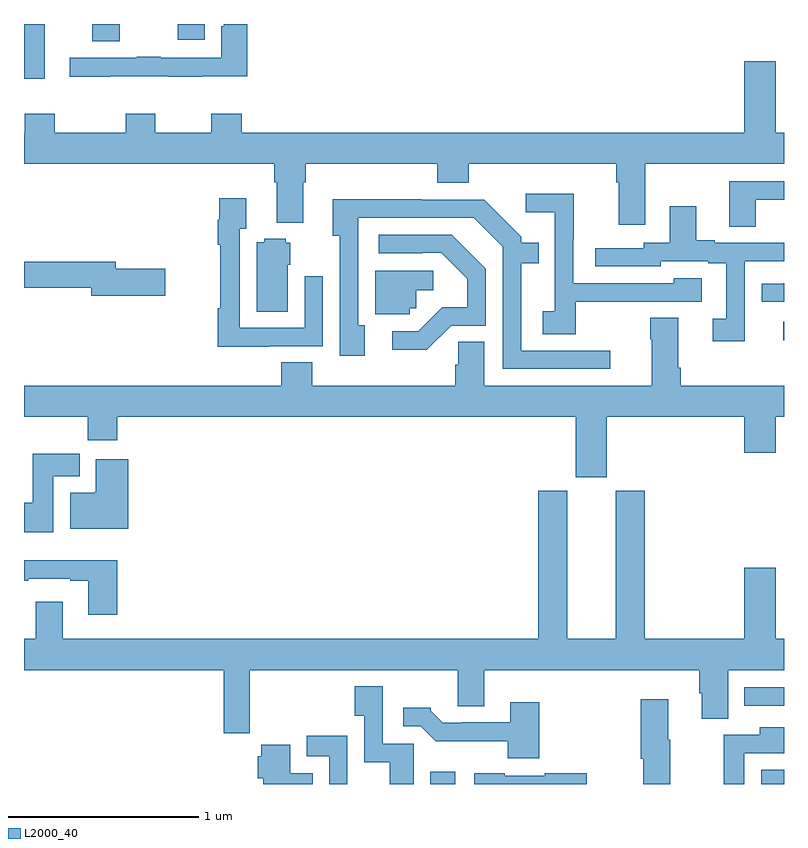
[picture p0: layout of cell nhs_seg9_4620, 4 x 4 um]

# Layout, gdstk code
import gdstk
lib = gdstk.Library(unit=1e-6, precision=1e-09)
def R(c, l, rs):  # rectangles x0, y0, x1, y1
    for r in rs: c.add(gdstk.rectangle(r[:2], r[2:], *l))
def P(c, l, *ps):  # polygons
    for p in ps: c.add(gdstk.Polygon(p, *l))
L2000_40 = (2000, 40)

nhs_seg9_4620 = lib.new_cell('nhs_seg9_4620')
R(nhs_seg9_4620, L2000_40, [(379.139,1182.5,379.27,1182.565), (380.879,1182.5,381,1182.574), (380.792,1182.912,381,1183.008), (380.997,1184.836,381,1184.934), (377,1186.211,377.11,1186.5), (377.36,1186.408,377.505,1186.5), (377.809,1186.416,377.95,1186.5)])
P(nhs_seg9_4620, L2000_40, [(377.453,1186.226),(377.759,1186.226),(377.759,1186.222),(377.942,1186.222),(377.942,1186.226),(378.176,1186.226),(378.176,1186.5),(378.05,1186.5),(378.05,1186.488),(378.038,1186.488),(378.038,1186.323),(377.72,1186.323),(377.72,1186.328),(377.593,1186.328),(377.593,1186.323),(377.241,1186.323),(377.241,1186.222),(377.453,1186.222)],
  [(378.317,1185.668),(378.329,1185.668),(378.329,1185.455),(378.469,1185.455),(378.469,1185.668),(378.482,1185.668),(378.482,1185.764),(379.175,1185.764),(379.175,1185.665),(379.34,1185.665),(379.34,1185.764),(380.117,1185.764),(380.117,1185.668),(380.129,1185.668),(380.129,1185.444),(380.269,1185.444),(380.269,1185.764),(381,1185.764),(381,1185.928),(380.956,1185.928),(380.956,1186.303),(380.792,1186.303),(380.792,1185.928),(378.146,1185.928),(378.146,1186.027),(377.986,1186.027),(377.986,1185.928),(377.691,1185.928),(377.691,1186.027),(377.536,1186.027),(377.536,1185.928),(377.163,1185.928),(377.163,1186.027),(377.003,1186.027),(377.003,1185.928),(377,1185.928),(377,1185.764),(378.317,1185.764)],
  [(380.851,1185.576),(381,1185.576),(381,1185.672),(380.711,1185.672),(380.711,1185.433),(380.851,1185.433)],
  [(379.903,1185.037),(380.207,1185.037),(380.207,1185.039),(380.566,1185.039),(380.566,1185.163),(380.421,1185.163),(380.421,1185.135),(379.89,1185.135),(379.89,1185.368),(379.893,1185.368),(379.893,1185.607),(379.641,1185.607),(379.641,1185.509),(379.794,1185.509),(379.794,1184.988),(379.731,1184.988),(379.731,1184.866),(379.903,1184.866)],
  [(378.289,1184.805),(378.573,1184.805),(378.573,1185.172),(378.477,1185.172),(378.477,1184.901),(378.135,1184.901),(378.135,1185.422),(378.169,1185.422),(378.169,1185.583),(378.027,1185.583),(378.027,1185.47),(378.019,1185.47),(378.019,1185.338),(378.034,1185.338),(378.034,1185.005),(378.019,1185.005),(378.019,1184.801),(378.289,1184.801)],
  [(380.086,1184.781),(379.618,1184.781),(379.618,1185.24),(379.709,1185.24),(379.709,1185.349),(379.617,1185.349),(379.617,1185.381),(379.422,1185.576),(379.091,1185.576),(379.091,1185.578),(378.626,1185.578),(378.626,1185.386),(378.663,1185.386),(378.663,1184.754),(378.793,1184.754),(378.793,1184.914),(378.759,1184.914),(378.759,1185.48),(379.368,1185.48),(379.521,1185.327),(379.521,1184.685),(380.086,1184.685)],
  [(380.793,1185.252),(381,1185.252),(381,1185.348),(380.635,1185.348),(380.635,1185.361),(380.539,1185.361),(380.539,1185.541),(380.399,1185.541),(380.399,1185.348),(380.262,1185.348),(380.262,1185.321),(380.007,1185.321),(380.007,1185.225),(380.352,1185.225),(380.352,1185.252),(380.6,1185.252),(380.6,1185.24),(380.696,1185.24),(380.696,1184.949),(380.625,1184.949),(380.625,1184.829),(380.793,1184.829)],
  [(379.248,1184.913),(379.431,1184.913),(379.431,1185.211),(379.252,1185.39),(378.867,1185.39),(378.867,1185.294),(379.097,1185.294),(379.097,1185.297),(379.197,1185.297),(379.334,1185.16),(379.334,1185.01),(379.201,1185.01),(379.074,1184.883),(378.939,1184.883),(378.939,1184.786),(379.12,1184.786)],
  [(378.388,1185.234),(378.4,1185.234),(378.4,1185.348),(378.378,1185.348),(378.378,1185.37),(378.264,1185.37),(378.264,1185.352),(378.224,1185.352),(378.224,1184.986),(378.388,1184.986)],
  [(377.743,1185.212),(377.482,1185.212),(377.482,1185.248),(377,1185.248),(377,1185.112),(377.354,1185.112),(377.354,1185.07),(377.743,1185.07)],
  [(379.029,1185.003),(379.065,1185.003),(379.065,1185.098),(379.153,1185.098),(379.153,1185.201),(378.848,1185.201),(378.848,1184.973),(379.029,1184.973)],
  [(381,1185.135),(380.995,1185.135),(380.995,1185.134),(380.883,1185.134),(380.883,1185.039),(381,1185.039)],
  [(380.068,1184.432),(380.792,1184.432),(380.792,1184.244),(380.956,1184.244),(380.956,1184.432),(381,1184.432),(381,1184.596),(380.456,1184.596),(380.456,1184.692),(380.443,1184.692),(380.443,1184.953),(380.296,1184.953),(380.296,1184.84),(380.303,1184.84),(380.303,1184.596),(379.423,1184.596),(379.423,1184.828),(379.285,1184.828),(379.285,1184.706),(379.271,1184.706),(379.271,1184.596),(378.518,1184.596),(378.518,1184.72),(378.353,1184.72),(378.353,1184.596),(377,1184.596),(377,1184.432),(377.335,1184.432),(377.335,1184.308),(377.492,1184.308),(377.492,1184.432),(379.904,1184.432),(379.904,1184.115),(380.068,1184.115)],
  [(377.155,1184.12),(377.293,1184.12),(377.293,1184.238),(377.045,1184.238),(377.045,1183.98),(377,1183.98),(377,1183.824),(377.155,1183.824)],
  [(377.549,1184.209),(377.378,1184.209),(377.378,1184.038),(377.372,1184.038),(377.372,1184.032),(377.243,1184.032),(377.243,1183.844),(377.549,1183.844)],
  [(378.188,1183.1),(379.283,1183.1),(379.283,1182.91),(379.423,1182.91),(379.423,1183.1),(380.555,1183.1),(380.555,1182.978),(380.567,1182.978),(380.567,1182.844),(380.707,1182.844),(380.707,1183.1),(381,1183.1),(381,1183.264),(380.956,1183.264),(380.956,1183.639),(380.792,1183.639),(380.792,1183.264),(380.267,1183.264),(380.267,1184.043),(380.114,1184.043),(380.114,1183.264),(379.858,1183.264),(379.858,1184.043),(379.706,1184.043),(379.706,1183.264),(377.203,1183.264),(377.203,1183.459),(377.063,1183.459),(377.063,1183.264),(377,1183.264),(377,1183.1),(378.052,1183.1),(378.052,1182.768),(378.188,1182.768)],
  [(377.492,1183.678),(377,1183.678),(377,1183.569),(377.023,1183.569),(377.023,1183.581),(377.243,1183.581),(377.243,1183.569),(377.339,1183.569),(377.339,1183.392),(377.492,1183.392)],
  [(379.051,1182.711),(378.888,1182.711),(378.888,1183.015),(378.74,1183.015),(378.74,1182.859),(378.792,1182.859),(378.792,1182.614),(378.926,1182.614),(378.926,1182.5),(379.051,1182.5)],
  [(380.4,1182.733),(380.392,1182.733),(380.392,1182.946),(380.246,1182.946),(380.246,1182.633),(380.258,1182.633),(380.258,1182.5),(380.4,1182.5)],
  [(379.712,1182.931),(379.559,1182.931),(379.559,1182.825),(379.303,1182.825),(379.303,1182.822),(379.204,1182.822),(379.14,1182.886),(379.14,1182.901),(378.996,1182.901),(378.996,1182.804),(379.089,1182.804),(379.168,1182.726),(379.547,1182.726),(379.547,1182.636),(379.712,1182.636)],
  [(380.79,1182.663),(381,1182.663),(381,1182.799),(380.872,1182.799),(380.872,1182.759),(380.682,1182.759),(380.682,1182.5),(380.79,1182.5)],
  [(378.702,1182.754),(378.489,1182.754),(378.489,1182.645),(378.606,1182.645),(378.606,1182.5),(378.702,1182.5)],
  [(378.521,1182.556),(378.4,1182.556),(378.4,1182.706),(378.248,1182.706),(378.248,1182.645),(378.231,1182.645),(378.231,1182.531),(378.26,1182.531),(378.26,1182.5),(378.521,1182.5)],
  [(379.963,1182.557),(379.74,1182.557),(379.74,1182.544),(379.53,1182.544),(379.53,1182.556),(379.37,1182.556),(379.37,1182.5),(379.963,1182.5)])

lib.write_gds('nhs_seg9_4620.gds')
